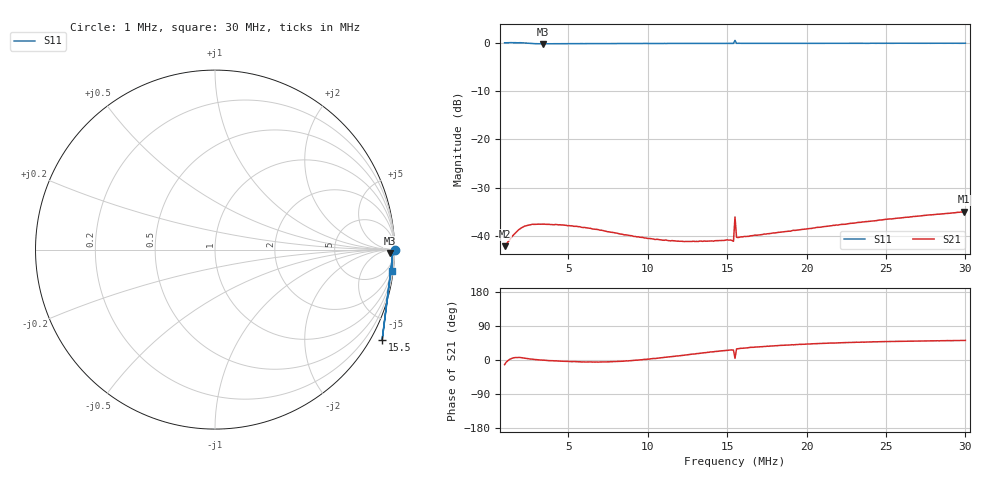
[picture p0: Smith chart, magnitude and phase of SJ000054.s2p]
!File created by NanoVNA-F V2
# Hz S RI R 50
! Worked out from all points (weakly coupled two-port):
!   301 points, 1 MHz to 30 MHz, reference 50 ohm
!   highest |S21| = -34.95 dB at 29.9 MHz (marker M1); lowest = -42.1 dB at 1 MHz (marker M2)
!   lowest |S11| = -0.2 dB at 3.417 MHz (marker M3), VSWR 84.80, Z = 2.32e+03 - j2.11e+03 ohm
!   |S11| at or under -10 dB: nowhere
!   S12 and S22 are empty: the file has one direction only
!   S11 on the Smith chart (normalised r, x): 1 MHz: open; 15.5 MHz: -0.47, -3.89; 30 MHz: 1, -17
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1000000  1.001 -0.000538  0.00768 -0.00166  0 0  0 0
1483330  1.004 -0.0108  0.00993 0.000845  0 0  0 0
1869994  1.001 -0.02  0.0115 0.00135  0 0  0 0
2063326  1.001 -0.0235  0.0121 0.00129  0 0  0 0
2256658  0.9942 -0.0265  0.0126 0.00104  0 0  0 0
2739988  0.9832 -0.029  0.0132 0.000509  0 0  0 0
3416650  0.9765 -0.021  0.0133 -8.2e-05  0 0  0 0
4673308  0.9796 -0.0183  0.013 -0.000754  0 0  0 0
5833300  0.9818 -0.0214  0.0123 -0.0011  0 0  0 0
9119944  0.9847 -0.0312  0.00991 -0.00015  0 0  0 0
1.06666e7  0.9866 -0.0385  0.00918 0.000823  0 0  0 0
1.230992e7  0.9871 -0.0447  0.00855 0.00194  0 0  0 0
1.414658e7  0.9865 -0.0517  0.00822 0.00327  0 0  0 0
1.501657e7  0.9862 -0.055  0.00825 0.00394  0 0  0 0
1.52099e7  0.9855 -0.0573  0.00815 0.00406  0 0  0 0
1.540323e7  0.9862 -0.0565  0.00791 0.0039  0 0  0 0
1.54999e7  0.9311 -0.5046  0.0157 0.0012  0 0  0 0
1.559657e7  0.9874 -0.0577  0.00848 0.00475  0 0  0 0
2.03332e7  0.9859 -0.0771  0.00881 0.00814  0 0  0 0
2.51665e7  0.9863 -0.0982  0.00992 0.0112  0 0  0 0
2.990313e7  0.9837 -0.1172  0.0111 0.014  0 0  0 0
2.99998e7  0.9839 -0.1178  0.0111 0.014  0 0  0 0
